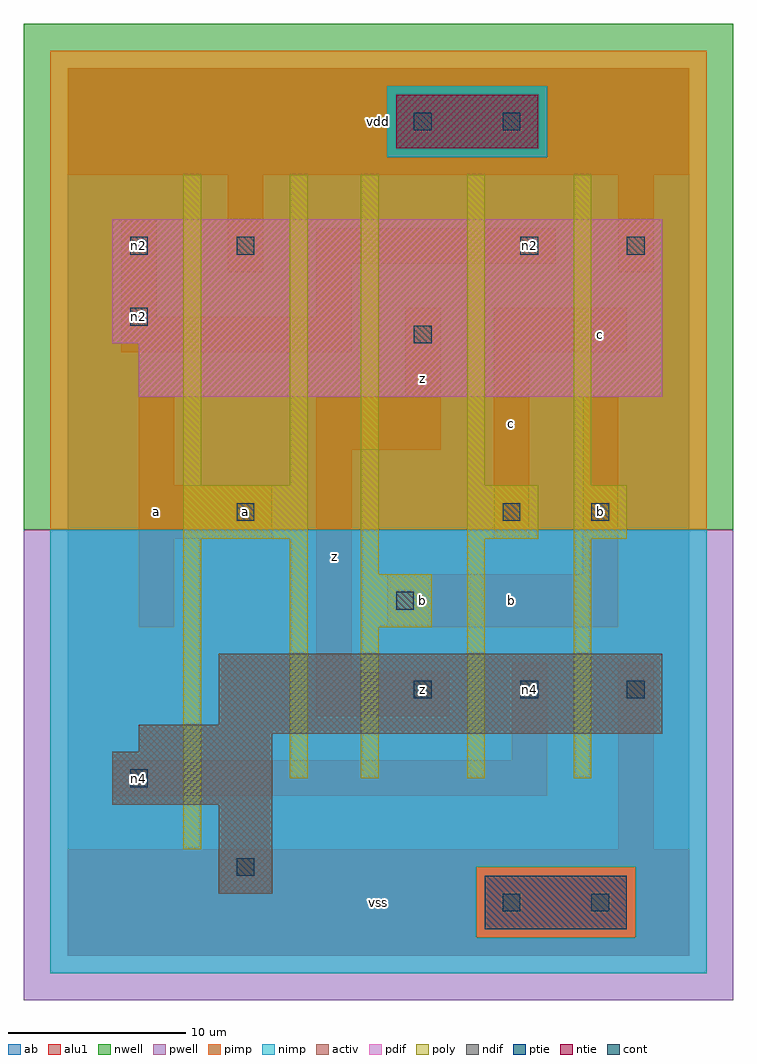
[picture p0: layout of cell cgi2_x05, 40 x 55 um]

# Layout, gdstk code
import gdstk
lib = gdstk.Library(unit=1e-6, precision=1e-09)
def R(c, l, rs):  # rectangles x0, y0, x1, y1
    for r in rs: c.add(gdstk.rectangle(r[:2], r[2:], *l))
def A(c, l, x, y, w, h, nx, ny, dx, dy):  # array of equal rectangles
    R(c, l, [(x+i*dx, y+j*dy, x+i*dx+w, y+j*dy+h) for i in range(nx) for j in range(ny)])
ndif = (3, 0)
pdif = (4, 0)
ntie = (5, 0)
ptie = (6, 0)
cont = (25, 0)
pwell = (41, 0)
nwell = (42, 0)
activ = (43, 0)
pimp = (44, 0)
nimp = (45, 0)
poly = (46, 0)
alu1 = (49, 0)
ab = (63, 0)

cgi2_x05 = lib.new_cell('cgi2_x05')
R(cgi2_x05, ndif, [(8.5,3.5,11.5,8.5), (2.5,8.5,11.5,11.5), (4,11.5,11.5,12.5), (4,12.5,33.5,13), (8.5,13,33.5,17)])
R(cgi2_x05, pdif, [(4,31.5,33.5,34.5), (2.5,34.5,33.5,41.5)])
R(cgi2_x05, ntie, [(18.5,45.5,26.5,48.5)])
R(cgi2_x05, ptie, [(23.5,1.5,31.5,4.5)])
A(cgi2_x05, cont, 24.5, 2.5, 1, 1, 1, 3, 0, 22)
A(cgi2_x05, cont, 19.5, 14.5, 1, 1, 3, 1, 6, 0)
R(cgi2_x05, cont, [(29.5,2.5,30.5,3.5), (9.5,4.5,10.5,5.5), (3.5,9.5,4.5,10.5), (18.5,19.5,19.5,20.5), (9.5,24.5,10.5,25.5), (29.5,24.5,30.5,25.5), (19.5,34.5,20.5,35.5), (3.5,35.5,4.5,36.5), (3.5,39.5,4.5,40.5), (9.5,39.5,10.5,40.5), (25.5,39.5,26.5,40.5), (31.5,39.5,32.5,40.5), (19.5,46.5,20.5,47.5)])
R(cgi2_x05, pwell, [(-2.5,-2.5,37.5,24)])
R(cgi2_x05, nwell, [(-2.5,24,37.5,52.5)])
R(cgi2_x05, activ, [(23.5,1.5,31.5,4.5), (8.5,3.5,11.5,8.5), (2.5,8.5,11.5,11.5), (4,11.5,11.5,12.5), (4,12.5,33.5,13), (8.5,13,33.5,17), (4,31.5,33.5,34.5), (2.5,34.5,33.5,41.5), (18.5,45.5,26.5,48.5)])
R(cgi2_x05, pimp, [(23,1,32,5), (-1,24,36,45), (-1,45,18,49), (27,45,36,49), (-1,49,36,51)])
R(cgi2_x05, nimp, [(-1,-1,36,1), (-1,1,23,5), (32,1,36,5), (-1,5,36,24), (18,45,27,49)])
R(cgi2_x05, poly, [(6.5,6,7.5,23.5), (12.5,10,13.5,23.5), (16.5,10,17.5,18.5), (22.5,10,23.5,23.5), (28.5,10,29.5,23.5), (16.5,18.5,20.5,21.5), (16.5,21.5,17.5,44), (6.5,23.5,13.5,26.5), (22.5,23.5,26.5,26.5), (28.5,23.5,31.5,26.5), (6.5,26.5,7.5,44), (12.5,26.5,13.5,44), (22.5,26.5,23.5,44), (28.5,26.5,29.5,44)])
R(cgi2_x05, alu1, [(0,0,35,6), (0,0,35,6), (31,6,33,16.5), (31,6,33,16.5), (2.5,9,27,11), (2.5,9,27,11), (25,11,27,16.5), (25,11,27,16.5), (14,13.5,21.5,16), (14,13.5,21.5,16), (14,16,16,28.5), (14,16,16,28.5), (4,18.5,6,23.5), (4,18.5,6,23.5), (18,18.5,31,21.5), (18,18.5,31,21.5), (29,21.5,31,31.5), (29,21.5,31,31.5), (4,23.5,11.5,26.5), (4,23.5,11.5,26.5), (24,23.5,26,34), (24,23.5,26,34), (4,26.5,6,31.5), (4,26.5,6,31.5), (14,28.5,21,31.5), (14,28.5,21,31.5), (19,31.5,21,36.5), (19,31.5,21,36.5), (3,34,16,36), (3,34,16,36), (24,34,31.5,36.5), (24,34,31.5,36.5), (3,36,5,41.5), (3,36,5,41.5), (14,36,16,39), (14,36,16,39), (9,38.5,11,44), (9,38.5,11,44), (31,38.5,33,44), (31,38.5,33,44), (14,39,27.5,41), (14,39,27.5,41), (0,44,35,50), (0,44,35,50)])
R(cgi2_x05, ab, [(0,0,35,50)])
cgi2_x05.add(gdstk.Label('n4', (4,10), layer=49, texttype=0))
cgi2_x05.add(gdstk.Label('n2', (4,40), layer=49, texttype=0))
cgi2_x05.add(gdstk.Label('n2', (4,36), layer=49, texttype=0))
cgi2_x05.add(gdstk.Label('n4', (26,15), layer=49, texttype=0))
cgi2_x05.add(gdstk.Label('n2', (26,40), layer=49, texttype=0))
cgi2_x05.add(gdstk.Label('a', (5,25), layer=49, texttype=0))
cgi2_x05.add(gdstk.Label('z', (15,22.5), layer=49, texttype=0))
cgi2_x05.add(gdstk.Label('a', (10,25), layer=49, texttype=0))
cgi2_x05.add(gdstk.Label('vss', (17.5,3), layer=49, texttype=0))
cgi2_x05.add(gdstk.Label('b', (20,20), layer=49, texttype=0))
cgi2_x05.add(gdstk.Label('b', (25,20), layer=49, texttype=0))
cgi2_x05.add(gdstk.Label('z', (20,15), layer=49, texttype=0))
cgi2_x05.add(gdstk.Label('z', (20,32.5), layer=49, texttype=0))
cgi2_x05.add(gdstk.Label('c', (25,30), layer=49, texttype=0))
cgi2_x05.add(gdstk.Label('vdd', (17.5,47), layer=49, texttype=0))
cgi2_x05.add(gdstk.Label('b', (30,25), layer=49, texttype=0))
cgi2_x05.add(gdstk.Label('c', (30,35), layer=49, texttype=0))

lib.write_gds('cgi2_x05.gds')
